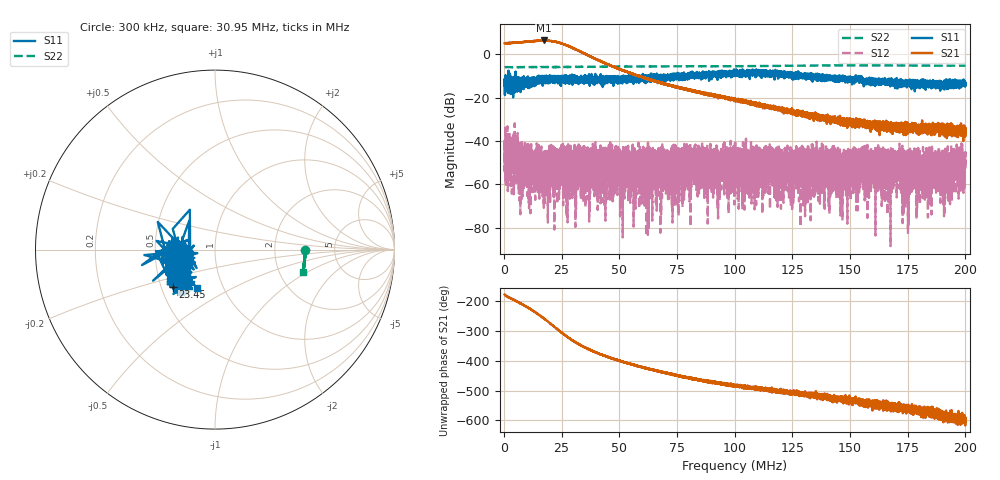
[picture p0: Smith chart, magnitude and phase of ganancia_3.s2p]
# Hz S DB R 50
! CMT, M5065, 19127446, 24.2.4/2
! Date: 11/8/2024 2:42:51 PM
! Data: Format (Calibration Info)
! Freq	S11:dB/Ang(F2)	S21:dB/Ang(F2)	S12:dB/Ang(F2)	S22:dB/Ang(F2)
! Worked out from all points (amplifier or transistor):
!   9000 points, 300 kHz to 200 MHz, reference 50 ohm
!   highest |S21| = 6.3 dB at 17.34 MHz (marker M1)
!   |S21| within 3 dB of that: start of sweep to 28.79 MHz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
!   unconditionally stable (mu >= 1): start of sweep to end of sweep
!   at 33.59 MHz: K = 255.83, MAG = 2.5 dB, |S12| = -58.3 dB
!   at 100.2 MHz: K = 1574.97, MAG = -18.6 dB, |S12| = -53.4 dB
!   at 200 MHz: K = 8399.71, MAG = -34.0 dB, |S12| = -52.2 dB
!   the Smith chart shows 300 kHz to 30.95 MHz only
!   S11 on the Smith chart (normalised r, x): 300 kHz: 0.62, -0.01; 23.45 MHz: 0.57, -0.27; 30.95 MHz: 0.75, -0.34
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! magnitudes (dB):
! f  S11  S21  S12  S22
! 300 kHz  -12.5  5.0  -39.6  -6.0
! 1.41 MHz  -15.8  5.1  -55.9  -6.0
! 4.694 MHz  -13.5  5.2  -35.9  -6.0
! 10.53 MHz  -13.5  5.7  -41.4  -6.0
! 17.34 MHz  -10.6  6.3  -47.3  -6.0
! 23.45 MHz  -10.0  5.4  -49.5  -6.0
! 30.95 MHz  -12.6  2.2  -42.1  -5.9
! 33.59 MHz  -11.7  0.9  -58.3  -5.9
! 66.87 MHz  -13.3  -13.1  -54.1  -5.7
! 79.17 MHz  -10.7  -16.1  -44.5  -5.6
! 100.2 MHz  -9.0  -20.6  -53.4  -5.6
! 133.4 MHz  -10.9  -28.5  -50.6  -5.3
! 143.8 MHz  -12.1  -30.3  -45.5  -5.2
! 148.9 MHz  -11.2  -31.5  -50.3  -5.2
! 155.3 MHz  -11.6  -31.0  -49.4  -5.2
! 166.7 MHz  -13.5  -33.7  -52.6  -5.2
! 170.9 MHz  -12.7  -34.9  -46.6  -5.2
! 179.8 MHz  -13.2  -33.5  -53.7  -5.3
! 186 MHz  -13.6  -35.1  -60.0  -5.3
! 193.2 MHz  -14.4  -34.8  -50.3  -5.4
! 195.3 MHz  -14.5  -35.6  -49.4  -5.4
! 200 MHz  -13.8  -35.6  -52.2  -5.4
